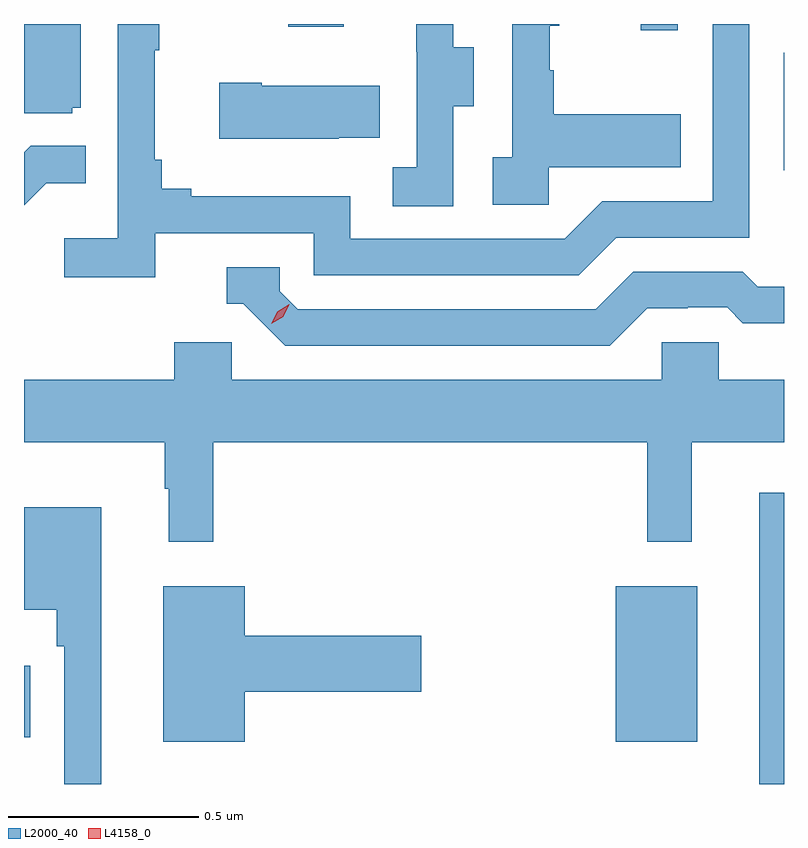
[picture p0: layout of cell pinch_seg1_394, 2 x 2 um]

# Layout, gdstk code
import gdstk
lib = gdstk.Library(unit=1e-6, precision=1e-09)
def R(c, l, rs):  # rectangles x0, y0, x1, y1
    for r in rs: c.add(gdstk.rectangle(r[:2], r[2:], *l))
def P(c, l, *ps):  # polygons
    for p in ps: c.add(gdstk.Polygon(p, *l))
L2000_40 = (2000, 40)
L4158_0 = (4158, 0)

pinch_seg1_394 = lib.new_cell('pinch_seg1_394')
R(pinch_seg1_394, L2000_40, [(990.908,526.856,990.973,527.623), (990.53,526.967,990.745,527.377), (988.973,526.979,988.99,527.167), (990.972,528.471,990.973,528.78), (990.596,528.84,990.693,528.856), (989.668,528.849,989.815,528.856)])
P(pinch_seg1_394, L2000_40, [(990.102,528.64),(990.157,528.64),(990.157,528.795),(990.103,528.795),(990.103,528.856),(990.005,528.856),(990.005,528.783),(990.006,528.783),(990.006,528.479),(989.943,528.479),(989.943,528.376),(990.102,528.376)],
  [(989.318,528.306),(989.736,528.306),(989.736,528.195),(990.433,528.195),(990.532,528.294),(990.882,528.294),(990.882,528.856),(990.786,528.856),(990.786,528.39),(990.495,528.39),(990.396,528.291),(989.832,528.291),(989.832,528.403),(989.413,528.403),(989.413,528.422),(989.336,528.422),(989.336,528.499),(989.317,528.499),(989.317,528.787),(989.329,528.787),(989.329,528.856),(989.22,528.856),(989.22,528.292),(989.079,528.292),(989.079,528.19),(989.318,528.19)],
  [(990.354,528.479),(990.701,528.479),(990.701,528.619),(990.367,528.619),(990.367,528.734),(990.357,528.734),(990.357,528.852),(990.382,528.852),(990.382,528.856),(990.258,528.856),(990.258,528.506),(990.207,528.506),(990.207,528.381),(990.354,528.381)],
  [(989.1,528.636),(989.122,528.636),(989.122,528.856),(988.973,528.856),(988.973,528.621),(989.1,528.621)],
  [(989.801,528.557),(989.909,528.557),(989.909,528.694),(989.599,528.694),(989.599,528.702),(989.487,528.702),(989.487,528.554),(989.801,528.554)],
  [(989.031,528.437),(989.135,528.437),(989.135,528.536),(988.991,528.536),(988.973,528.518),(988.973,528.379)],
  [(990.613,528.108),(990.72,528.108),(990.72,528.111),(990.823,528.111),(990.865,528.069),(990.973,528.069),(990.973,528.165),(990.904,528.165),(990.865,528.204),(990.576,528.204),(990.477,528.105),(989.694,528.105),(989.646,528.153),(989.646,528.216),(989.507,528.216),(989.507,528.12),(989.55,528.12),(989.661,528.009),(990.514,528.009)],
  [(989.471,527.756),(990.613,527.756),(990.613,527.493),(990.73,527.493),(990.73,527.756),(990.973,527.756),(990.973,527.92),(990.801,527.92),(990.801,528.018),(990.651,528.018),(990.651,527.92),(989.52,527.92),(989.52,528.018),(989.369,528.018),(989.369,527.92),(988.973,527.92),(988.973,527.756),(989.343,527.756),(989.343,527.633),(989.354,527.633),(989.354,527.493),(989.471,527.493)],
  [(989.176,527.584),(988.973,527.584),(988.973,527.315),(989.059,527.315),(989.059,527.219),(989.079,527.219),(989.079,526.856),(989.176,526.856)],
  [(989.554,527.099),(990.019,527.099),(990.019,527.246),(989.554,527.246),(989.554,527.377),(989.339,527.377),(989.339,526.967),(989.554,526.967)])
P(pinch_seg1_394, L4158_0, [(989.623,528.067),(989.623,528.067),(989.64,528.099),(989.671,528.118),(989.671,528.118),(989.671,528.118),(989.655,528.086),(989.624,528.067)])

lib.write_gds('pinch_seg1_394.gds')
